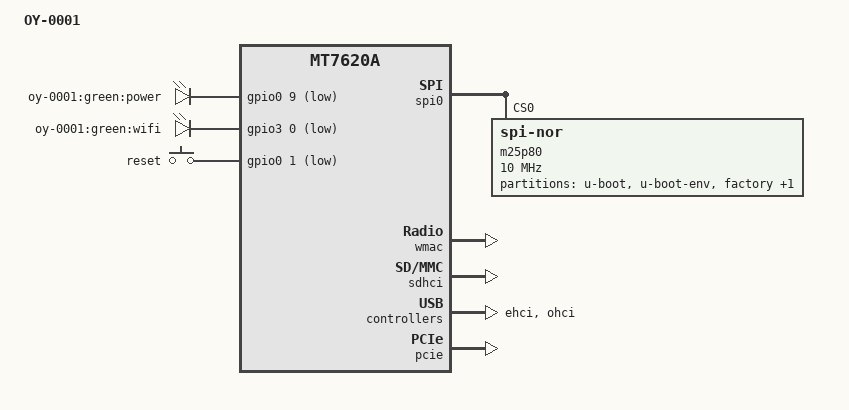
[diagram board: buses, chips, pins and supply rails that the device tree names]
/dts-v1/;

#include "mt7620a.dtsi"

/ {
	compatible = "ralink,mt7620a-soc";
	model = "OY-0001";

	chosen {
		bootargs = "console=ttyS0,115200";
	};

	gpio-leds {
		compatible = "gpio-leds";

		powerled {
			label = "oy-0001:green:power";
			gpios = <&gpio0 9 1>;
		};

		wifiled {
			label = "oy-0001:green:wifi";
			gpios = <&gpio3 0 1>;
		};
	};

	gpio-keys-polled {
		compatible = "gpio-keys-polled";
		#address-cells = <1>;
		#size-cells = <0>;
		poll-interval = <20>;

		s1 {
			label = "reset";
			gpios = <&gpio0 1 1>;
			linux,code = <0x198>;
		};
	};
};

&gpio2 {
	status = "okay";
};

&gpio3 {
	status = "okay";
};

&spi0 {
	status = "okay";

	m25p80@0 {
		#address-cells = <1>;
		#size-cells = <1>;
		compatible = "jedec,spi-nor";
		reg = <0>;
		linux,modalias = "m25p80", "w25q128";
		spi-max-frequency = <10000000>;

		partition@0 {
			label = "u-boot";
			reg = <0x0 0x30000>;
			read-only;
		};

		partition@30000 {
			label = "u-boot-env";
			reg = <0x30000 0x10000>;
			read-only;
		};

		factory: partition@40000 {
			label = "factory";
			reg = <0x40000 0x10000>;
			read-only;
		};

		partition@50000 {
			label = "firmware";
			reg = <0x50000 0xfb0000>;
		};
	};
};

&pinctrl {
	state_default: pinctrl0 {
		gpio {
			ralink,group = "i2c", "uartf", "rgmii1", "rgmii2", "wled", "nd_sd";
			ralink,function = "gpio";
		};
	};
};

&ethernet {
	pinctrl-names = "default";
	pinctrl-0 = <&ephy_pins>;
	mediatek,portmap = "llllw";
};

&gsw {
	mediatek,port4 = "ephy";
};

&wmac {
	ralink,mtd-eeprom = <&factory 0>;
};

&sdhci {
	status = "okay";
};

&ehci {
	status = "okay";
};

&ohci {
	status = "okay";
};

&pcie {
	status = "okay";
};
